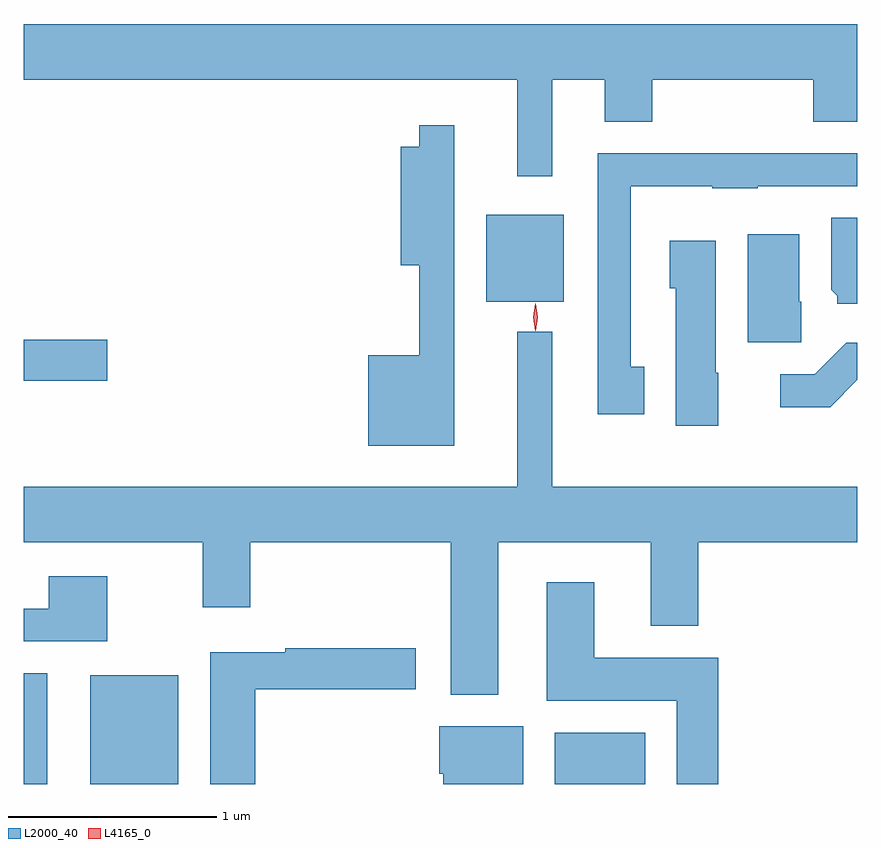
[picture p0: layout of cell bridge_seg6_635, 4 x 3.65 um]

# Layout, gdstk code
import gdstk
lib = gdstk.Library(unit=1e-6, precision=1e-09)
def R(c, l, rs):  # rectangles x0, y0, x1, y1
    for r in rs: c.add(gdstk.rectangle(r[:2], r[2:], *l))
def P(c, l, *ps):  # polygons
    for p in ps: c.add(gdstk.Polygon(p, *l))
L2000_40 = (2000, 40)
L4165_0 = (4165, 0)

bridge_seg6_635 = lib.new_cell('bridge_seg6_635')
R(bridge_seg6_635, L2000_40, [(357.942,1633.237,358.054,1633.769), (358.261,1633.237,358.684,1633.759), (360.491,1633.237,360.924,1633.484), (357.942,1635.171,358.344,1635.369), (360.161,1635.551,360.534,1635.969)])
P(bridge_seg6_635, L2000_40, [(360.479,1636.616),(360.731,1636.616),(360.731,1636.416),(360.959,1636.416),(360.959,1636.616),(361.731,1636.616),(361.731,1636.416),(361.942,1636.416),(361.942,1636.884),(357.942,1636.884),(357.942,1636.616),(360.311,1636.616),(360.311,1636.153),(360.479,1636.153)],
  [(360.009,1636.398),(359.841,1636.398),(359.841,1636.294),(359.751,1636.294),(359.751,1635.726),(359.841,1635.726),(359.841,1635.294),(359.596,1635.294),(359.596,1634.861),(360.009,1634.861)],
  [(360.919,1635.239),(360.854,1635.239),(360.854,1636.106),(361.245,1636.106),(361.245,1636.096),(361.465,1636.096),(361.465,1636.106),(361.942,1636.106),(361.942,1636.264),(360.696,1636.264),(360.696,1635.011),(360.919,1635.011)],
  [(361.942,1635.954),(361.816,1635.954),(361.816,1635.609),(361.846,1635.579),(361.846,1635.541),(361.942,1635.541)],
  [(361.674,1635.55),(361.664,1635.55),(361.664,1635.874),(361.416,1635.874),(361.416,1635.356),(361.674,1635.356)],
  [(361.274,1635.21),(361.264,1635.21),(361.264,1635.844),(361.041,1635.844),(361.041,1635.616),(361.071,1635.616),(361.071,1634.956),(361.274,1634.956)],
  [(360.219,1634.396),(360.951,1634.396),(360.951,1633.996),(361.179,1633.996),(361.179,1634.396),(361.942,1634.396),(361.942,1634.664),(360.479,1634.664),(360.479,1635.408),(360.311,1635.408),(360.311,1634.664),(357.942,1634.664),(357.942,1634.396),(358.801,1634.396),(358.801,1634.086),(359.029,1634.086),(359.029,1634.396),(359.991,1634.396),(359.991,1633.666),(360.219,1633.666)],
  [(361.942,1635.176),(361.942,1635.354),(361.889,1635.354),(361.739,1635.204),(361.573,1635.204),(361.573,1635.046),(361.812,1635.046)],
  [(358.344,1634.234),(358.061,1634.234),(358.061,1634.079),(357.942,1634.079),(357.942,1633.921),(358.344,1633.921)],
  [(361.274,1633.844),(360.679,1633.844),(360.679,1634.204),(360.451,1634.204),(360.451,1633.636),(361.076,1633.636),(361.076,1633.237),(361.274,1633.237)],
  [(359.054,1633.691),(359.824,1633.691),(359.824,1633.889),(359.196,1633.889),(359.196,1633.869),(358.836,1633.869),(358.836,1633.237),(359.054,1633.237)],
  [(360.339,1633.514),(359.936,1633.514),(359.936,1633.286),(359.956,1633.286),(359.956,1633.237),(360.339,1633.237)])
P(bridge_seg6_635, L4165_0, [(360.398,1635.412),(360.397,1635.413),(360.388,1635.477),(360.397,1635.541),(360.398,1635.542),(360.398,1635.541),(360.408,1635.477),(360.398,1635.413)])

lib.write_gds('bridge_seg6_635.gds')
